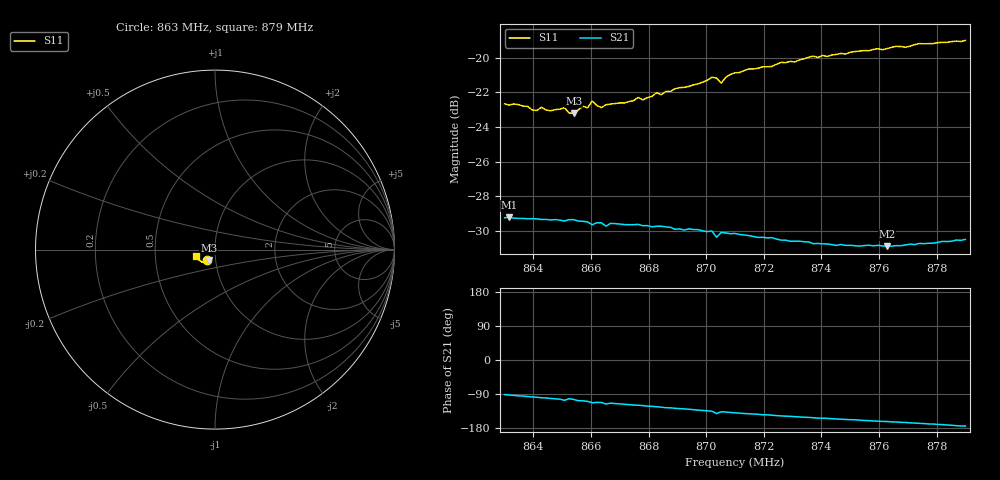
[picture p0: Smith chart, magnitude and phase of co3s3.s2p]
# HZ S RI R 50
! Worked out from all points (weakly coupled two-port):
!   101 points, 863 MHz to 879 MHz, reference 50 ohm
!   highest |S21| = -29.21 dB at 863.16 MHz (marker M1); lowest = -30.9 dB at 876.28 MHz (marker M2)
!   lowest |S11| = -23.2 dB at 865.4 MHz (marker M3), VSWR 1.15, Z = 46.3 - j5.55 ohm
!   |S11| at or under -10 dB: start of sweep to end of sweep
!   S12 and S22 are empty: the file has one direction only
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8.63e8  -0.045 -0.0582  -0.000712 -0.0345  0 0  0 0
8.6316e8  -0.0443 -0.058  -0.00144 -0.0346  0 0  0 0
8.6412e8  -0.0411 -0.0571  -0.00487 -0.0339  0 0  0 0
8.6508e8  -0.0392 -0.0601  -0.00957 -0.0324  0 0  0 0
8.654e8  -0.035 -0.0596  -0.0083 -0.0331  0 0  0 0
8.6572e8  -0.0385 -0.0613  -0.0104 -0.0321  0 0  0 0
8.6588e8  -0.0385 -0.0605  -0.011 -0.0317  0 0  0 0
8.6604e8  -0.0433 -0.0612  -0.0129 -0.0303  0 0  0 0
8.6636e8  -0.0403 -0.0594  -0.0125 -0.031  0 0  0 0
8.6652e8  -0.0379 -0.0625  -0.0144 -0.0293  0 0  0 0
8.6668e8  -0.0377 -0.0631  -0.0134 -0.0304  0 0  0 0
8.678e8  -0.0396 -0.0643  -0.0165 -0.0282  0 0  0 0
8.6828e8  -0.0412 -0.0677  -0.018 -0.0272  0 0  0 0
8.6844e8  -0.0398 -0.0673  -0.0185 -0.0269  0 0  0 0
8.702e8  -0.0494 -0.0727  -0.0224 -0.0223  0 0  0 0
8.7036e8  -0.05 -0.0716  -0.0237 -0.0189  0 0  0 0
8.7052e8  -0.0507 -0.0675  -0.0227 -0.0215  0 0  0 0
8.71e8  -0.0543 -0.0723  -0.0236 -0.0202  0 0  0 0
8.7372e8  -0.0729 -0.0699  -0.0257 -0.0135  0 0  0 0
8.7628e8  -0.0903 -0.0559  -0.0272 -0.00867  0 0  0 0
8.7644e8  -0.0917 -0.0554  -0.0274 -0.0082  0 0  0 0
8.79e8  -0.1063 -0.0359  -0.0297 -0.00292  0 0  0 0
